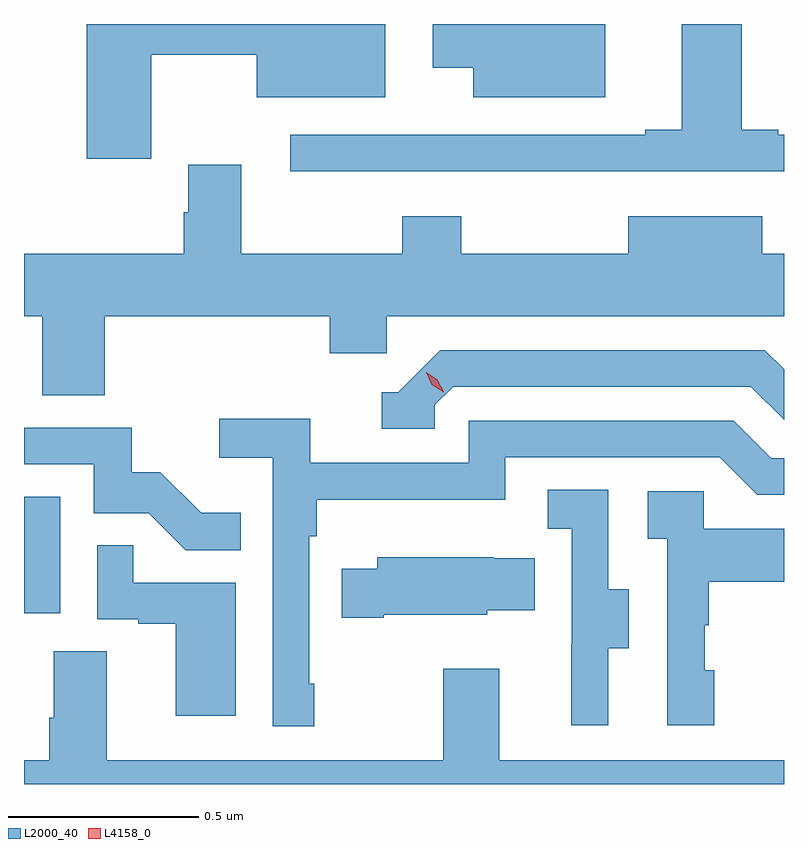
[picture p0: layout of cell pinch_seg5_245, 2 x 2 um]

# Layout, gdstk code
import gdstk
lib = gdstk.Library(unit=1e-6, precision=1e-09)
def R(c, l, rs):  # rectangles x0, y0, x1, y1
    for r in rs: c.add(gdstk.rectangle(r[:2], r[2:], *l))
def P(c, l, *ps):  # polygons
    for p in ps: c.add(gdstk.Polygon(p, *l))
L2000_40 = (2000, 40)
L4158_0 = (4158, 0)

pinch_seg5_245 = lib.new_cell('pinch_seg5_245')
R(pinch_seg5_245, L2000_40, [(921.299,907.926,921.394,908.233)])
P(pinch_seg5_245, L2000_40, [(922.793,909.09),(923.284,909.09),(923.284,909.089),(923.299,909.089),(923.299,909.186),(923.284,909.186),(923.284,909.199),(923.188,909.199),(923.188,909.477),(923.03,909.477),(923.03,909.199),(922.934,909.199),(922.934,909.186),(921.999,909.186),(921.999,909.09),(922.537,909.09),(922.537,909.089),(922.793,909.089)],
  [(922.828,909.477),(922.374,909.477),(922.374,909.362),(922.481,909.362),(922.481,909.284),(922.828,909.284)],
  [(921.634,909.396),(921.911,909.396),(921.911,909.284),(922.249,909.284),(922.249,909.477),(921.464,909.477),(921.464,909.123),(921.634,909.123)],
  [(921.512,908.708),(922.103,908.708),(922.103,908.61),(922.254,908.61),(922.254,908.708),(923.299,908.708),(923.299,908.872),(923.242,908.872),(923.242,908.971),(922.889,908.971),(922.889,908.872),(922.449,908.872),(922.449,908.971),(922.294,908.971),(922.294,908.872),(921.871,908.872),(921.871,909.106),(921.731,909.106),(921.731,908.981),(921.719,908.981),(921.719,908.872),(921.299,908.872),(921.299,908.708),(921.347,908.708),(921.347,908.5),(921.512,908.5)],
  [(922.38,908.475),(922.428,908.523),(923.211,908.523),(923.299,908.435),(923.299,908.568),(923.248,908.619),(922.395,908.619),(922.284,908.508),(922.241,908.508),(922.241,908.412),(922.38,908.412)],
  [(922.063,907.741),(922.05,907.741),(922.05,908.129),(922.07,908.129),(922.07,908.225),(922.566,908.225),(922.566,908.337),(923.13,908.337),(923.229,908.238),(923.299,908.238),(923.299,908.334),(923.266,908.334),(923.167,908.433),(922.47,908.433),(922.47,908.322),(922.052,908.322),(922.052,908.438),(921.813,908.438),(921.813,908.336),(921.954,908.336),(921.954,907.629),(922.063,907.629)],
  [(921.869,908.191),(921.765,908.191),(921.658,908.298),(921.582,908.298),(921.582,908.415),(921.299,908.415),(921.299,908.319),(921.483,908.319),(921.483,908.19),(921.627,908.19),(921.725,908.092),(921.869,908.092)],
  [(922.837,907.834),(922.891,907.834),(922.891,907.989),(922.836,907.989),(922.836,908.252),(922.677,908.252),(922.677,908.149),(922.74,908.149),(922.74,907.845),(922.739,907.845),(922.739,907.632),(922.837,907.632)],
  [(923.116,907.776),(923.091,907.776),(923.091,907.895),(923.101,907.895),(923.101,908.009),(923.299,908.009),(923.299,908.149),(923.088,908.149),(923.088,908.247),(922.941,908.247),(922.941,908.123),(922.992,908.123),(922.992,907.632),(923.116,907.632)],
  [(921.856,908.007),(921.587,908.007),(921.587,908.105),(921.492,908.105),(921.492,907.911),(921.599,907.911),(921.599,907.899),(921.698,907.899),(921.698,907.656),(921.856,907.656)],
  [(922.246,907.922),(922.518,907.922),(922.518,907.934),(922.643,907.934),(922.643,908.071),(922.535,908.071),(922.535,908.074),(922.229,908.074),(922.229,908.044),(922.135,908.044),(922.135,907.915),(922.246,907.915)],
  [(923.299,907.54),(922.549,907.54),(922.549,907.78),(922.402,907.78),(922.402,907.54),(921.517,907.54),(921.517,907.826),(921.377,907.826),(921.377,907.652),(921.365,907.652),(921.365,907.54),(921.299,907.54),(921.299,907.477),(923.299,907.477)])
P(pinch_seg5_245, L4158_0, [(922.403,908.508),(922.372,908.528),(922.357,908.561),(922.357,908.561),(922.357,908.561),(922.387,908.541),(922.403,908.509),(922.403,908.508)])

lib.write_gds('pinch_seg5_245.gds')
